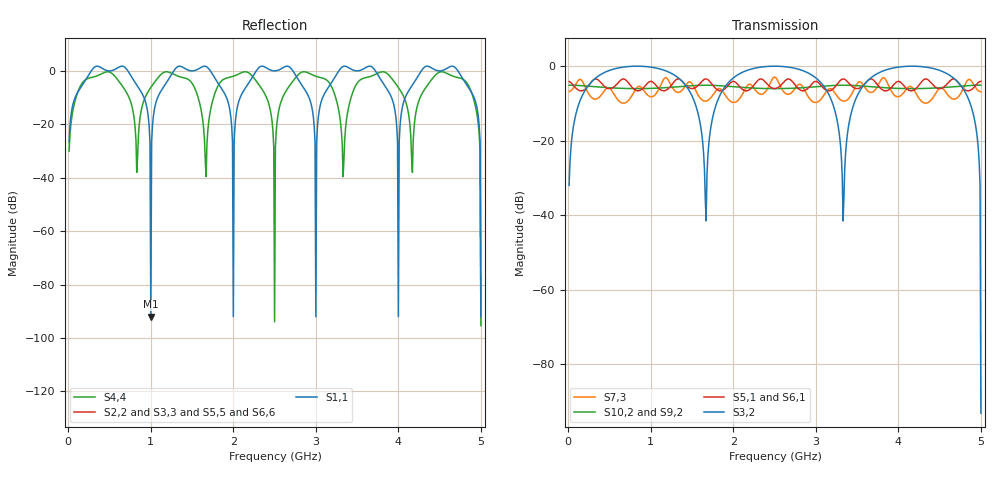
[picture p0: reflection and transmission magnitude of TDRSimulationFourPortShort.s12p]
# MHz MA S R 50.0
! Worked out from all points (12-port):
!   500 points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, 10 MHz to 5 GHz, reference 50 ohm
!   strongest paths, dB at 10 MHz, 1.26 GHz, 2.51 GHz, 3.76 GHz, 5 GHz:
!     S3,2: -32.0, -2.1, 0.0, -1.8, -93.2
!     S5,1: -4.1, -4.8, -6.0, -5.4, -4.1
!     S6,1: -4.1, -4.8, -6.0, -5.4, -4.1
!     S10,2: -5.1, -5.7, -6.0, -5.7, -5.1
!     S9,2: -5.1, -5.7, -6.0, -5.7, -5.1
!     S7,3: -6.8, -5.7, -3.0, -4.9, -6.8
!   lowest |S11| = -92.0 dB at 1 GHz (marker M1), VSWR 1.00, Z = 50 + j0 ohm
!   |S11| at or under -10 dB: 917.4 MHz to 1.083 GHz (165.2 MHz wide, 16.5 % of centre); 1.917 GHz to 2.083 GHz (165.2 MHz wide, 8.26 % of centre); 2.917 GHz to 3.083 GHz (165.2 MHz wide, 5.51 % of centre) (the widest 3 of 6)
